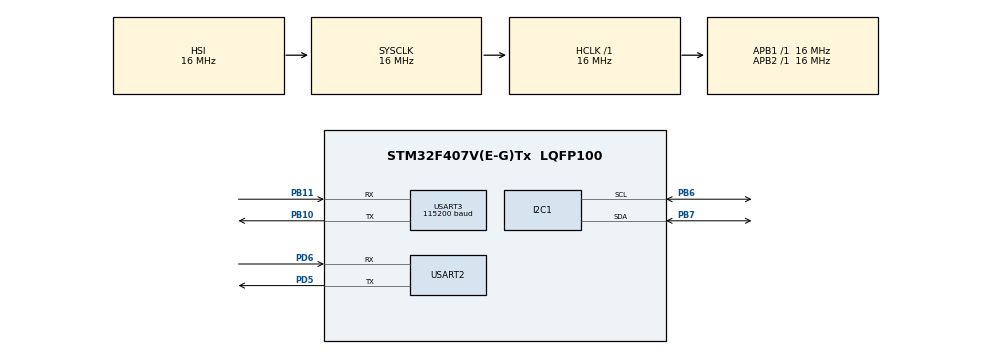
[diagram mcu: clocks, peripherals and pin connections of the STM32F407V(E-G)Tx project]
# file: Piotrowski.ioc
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Mcu.Family=STM32F4
Mcu.Name=STM32F407V(E-G)Tx
Mcu.Package=LQFP100
NVIC.PriorityGroup=NVIC_PRIORITYGROUP_4
PA13.Mode=Serial_Wire
PA13.Signal=SYS_JTMS-SWDIO
PA14.Mode=Serial_Wire
PA14.Signal=SYS_JTCK-SWCLK
PB10.Mode=Asynchronous
PB10.Signal=USART3_TX
PB11.Mode=Asynchronous
PB11.Signal=USART3_RX
PB6.Mode=I2C
PB6.Signal=I2C1_SCL
PB7.Mode=I2C
PB7.Signal=I2C1_SDA
PD5.Mode=Asynchronous
PD5.Signal=USART2_TX
PD6.Mode=Asynchronous
PD6.Signal=USART2_RX
PH0-OSC_IN.Mode=HSE-External-Oscillator
PH0-OSC_IN.Signal=RCC_OSC_IN
PH1-OSC_OUT.Mode=HSE-External-Oscillator
PH1-OSC_OUT.Signal=RCC_OSC_OUT
ProjectManager.HeapSize=0x200
ProjectManager.StackSize=0x400
ProjectManager.TargetToolchain=STM32CubeIDE
RCC.AHBFreq_Value=16000000
RCC.APB1Freq_Value=16000000
RCC.APB2Freq_Value=16000000
RCC.CortexFreq_Value=16000000
RCC.HSE_VALUE=25000000
RCC.HSI_VALUE=16000000
RCC.LSE_VALUE=32768
RCC.SYSCLKFreq_VALUE=16000000
RCC.VCOOutputFreq_Value=192000000
USART2.VirtualMode=VM_ASYNC
USART3.BaudRate=115200
USART3.VirtualMode=VM_ASYNC
board=custom

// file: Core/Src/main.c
/* USER CODE BEGIN Header */
/**
  ******************************************************************************
  * @file           : main.c
  * @brief          : Main program body
  ******************************************************************************
  * @attention
  *
  * <h2><center>&copy; Copyright (c) 2020 STMicroelectronics.
  * All rights reserved.</center></h2>
  *
  * This software component is licensed by ST under BSD 3-Clause license,
  * the "License"; You may not use this file except in compliance with the
  * License. You may obtain a copy of the License at:
  *                        opensource.org/licenses/BSD-3-Clause
  *
  ******************************************************************************
  */
/* USER CODE END Header */
#include "main.h"

/* USER CODE BEGIN Includes */
#include <string.h>
#include <stdio.h>
#include <inttypes.h>

/* USER CODE END Includes */

/* USER CODE BEGIN PTD */
#define BUFFER_LENGTH 4
/* USER CODE END PTD */

/* USER CODE BEGIN PD */
uint8_t MAX30105_ADDRESS      =    0x57; //7-bit I2C Address

uint16_t MAX30105_AAAAAAAAAA	= 	0xFF;
uint16_t MAX30105_FIFOCONFIG 	=	0x08;
uint16_t MAX30105_MODECONFIG 	=	0x09;
uint16_t MAX30105_PARTICLECONFIG	 =	0x0A;
uint16_t MAX30105_LED1_PULSEAMP 	=	0x0C;
uint16_t MAX30105_LED2_PULSEAMP 	=	0x0D;
uint16_t MAX30105_LED3_PULSEAMP 	=	0x0E;
uint16_t MAX30105_LED_PROX_AMP 	=	0x10;
uint16_t MAX30105_MULTILEDCONFIG1 =	0x11;
uint16_t MAX30105_MULTILEDCONFIG2 =	0x12;
uint16_t MAX30105_ROLLOVER_ENABLE =	0x10;
uint16_t MAX30105_MODE_MULTILED = 	0x07;
uint16_t MAX30105_ADCRANGE_4096 = 	0x20;
uint16_t MAX30105_SAMPLERATE_100 = 	0x04;
uint16_t MAX30105_SAMPLERATE_50 = 	0x00;
uint16_t MAX30105_PULSEWIDTH_118 = 	0x01;
uint16_t MAX30105_LED_AMPLITUDE = 0x1F;
uint16_t MAX30105_INT_A_FULL_DISABLE = 0x00;
uint16_t MAX30105_SAMPLEAVG_16 = 	0x80;
uint8_t MAX30105_RESET = 			0x40;
uint8_t SLOT_RED_LED = 			0x01;
uint8_t SLOT_IR_LED = 				0x02;
uint8_t SLOT_GREEN_LED = 			0x03;
uint8_t MAX30105_ROLLOVER_MASK = 	0xEF;
uint8_t MAX30105_A_FULL_MASK = 	0xF0;
uint8_t MAX30105_RESET_MASK = 		0xBF;
uint8_t MAX30105_MODE_MASK = 		0xF8;
uint8_t MAX30105_ADCRANGE_MASK = 	0x9F;
uint8_t MAX30105_SAMPLERATE_MASK = 0xE3;
uint8_t MAX30105_PULSEWIDTH_MASK = 0xFC;
uint16_t MAX30105_SAMPLEAVG_MASK =	~0b11100000;
uint16_t MAX30105_INT_A_FULL_MASK =	~0b10000000;
uint8_t MAX30105_INT_DATA_RDY_MASK = ~0b01000000;
uint8_t MAX30105_FIFOWRITEPTR = 	0x04;
uint8_t MAX30105_FIFOOVERFLOW = 	0x05;
uint8_t MAX30105_FIFOREADPTR = 	0x06;
uint8_t MAX30105_FIFODATA =		0x07;

uint8_t MAX30105_SLOT1_MASK = 		0xF8;
uint8_t MAX30105_SLOT2_MASK = 		0x8F;
uint8_t MAX30105_SLOT3_MASK = 		0xF8;
uint8_t MAX30105_SLOT4_MASK = 		0x8F;

/* USER CODE END PD */

I2C_HandleTypeDef hi2c1;

UART_HandleTypeDef huart2;
UART_HandleTypeDef huart3;

/* USER CODE BEGIN PV */
uint8_t buffer_rx[512] = {0};
/* USER CODE END PV */

void SystemClock_Config(void);
static void MX_GPIO_Init(void);
static void MX_I2C1_Init(void);
static void MX_USART3_UART_Init(void);
static void MX_USART2_UART_Init(void);
/* USER CODE BEGIN PFP */
void setup();
void read();
void clearFIFO(void);
void bitMask(uint8_t reg, uint8_t mask, uint8_t thing);
/* USER CODE END PFP */

int main(void)
{

  /* MCU Configuration--------------------------------------------------------*/

  /* Reset of all peripherals, Initializes the Flash interface and the Systick. */
  HAL_Init();

  /* Configure the system clock */
  SystemClock_Config();

  /* Initialize all configured peripherals */
  MX_GPIO_Init();
  MX_I2C1_Init();
  MX_USART3_UART_Init();
  MX_USART2_UART_Init();

  /* Infinite loop */
  /* USER CODE BEGIN WHILE */

  setup();
  while (1)
  {
	  read();
  }
    /* USER CODE END WHILE */

}

void SystemClock_Config(void)
{
  RCC_OscInitTypeDef RCC_OscInitStruct = {0};
  RCC_ClkInitTypeDef RCC_ClkInitStruct = {0};

  /** Configure the main internal regulator output voltage
  */
  __HAL_RCC_PWR_CLK_ENABLE();
  __HAL_PWR_VOLTAGESCALING_CONFIG(PWR_REGULATOR_VOLTAGE_SCALE1);
  /** Initializes the RCC Oscillators according to the specified parameters
  * in the RCC_OscInitTypeDef structure.
  */
  RCC_OscInitStruct.OscillatorType = RCC_OSCILLATORTYPE_HSI;
  RCC_OscInitStruct.HSIState = RCC_HSI_ON;
  RCC_OscInitStruct.HSICalibrationValue = RCC_HSICALIBRATION_DEFAULT;
  RCC_OscInitStruct.PLL.PLLState = RCC_PLL_NONE;
  if (HAL_RCC_OscConfig(&RCC_OscInitStruct) != HAL_OK)
  {
    Error_Handler();
  }
  /** Initializes the CPU, AHB and APB buses clocks
  */
  RCC_ClkInitStruct.ClockType = RCC_CLOCKTYPE_HCLK|RCC_CLOCKTYPE_SYSCLK
                              |RCC_CLOCKTYPE_PCLK1|RCC_CLOCKTYPE_PCLK2;
  RCC_ClkInitStruct.SYSCLKSource = RCC_SYSCLKSOURCE_HSI;
  RCC_ClkInitStruct.AHBCLKDivider = RCC_SYSCLK_DIV1;
  RCC_ClkInitStruct.APB1CLKDivider = RCC_HCLK_DIV1;
  RCC_ClkInitStruct.APB2CLKDivider = RCC_HCLK_DIV1;

  if (HAL_RCC_ClockConfig(&RCC_ClkInitStruct, FLASH_LATENCY_0) != HAL_OK)
  {
    Error_Handler();
  }
}

static void MX_I2C1_Init(void)
{

  hi2c1.Instance = I2C1;
  hi2c1.Init.ClockSpeed = 100000;
  hi2c1.Init.DutyCycle = I2C_DUTYCYCLE_2;
  hi2c1.Init.OwnAddress1 = 0;
  hi2c1.Init.AddressingMode = I2C_ADDRESSINGMODE_7BIT;
  hi2c1.Init.DualAddressMode = I2C_DUALADDRESS_DISABLE;
  hi2c1.Init.OwnAddress2 = 0;
  hi2c1.Init.GeneralCallMode = I2C_GENERALCALL_DISABLE;
  hi2c1.Init.NoStretchMode = I2C_NOSTRETCH_DISABLE;
  if (HAL_I2C_Init(&hi2c1) != HAL_OK)
  {
    Error_Handler();
  }

}

static void MX_USART2_UART_Init(void)
{

  huart2.Instance = USART2;
  huart2.Init.BaudRate = 115200;
  huart2.Init.WordLength = UART_WORDLENGTH_8B;
  huart2.Init.StopBits = UART_STOPBITS_1;
  huart2.Init.Parity = UART_PARITY_NONE;
  huart2.Init.Mode = UART_MODE_TX_RX;
  huart2.Init.HwFlowCtl = UART_HWCONTROL_NONE;
  huart2.Init.OverSampling = UART_OVERSAMPLING_16;
  if (HAL_UART_Init(&huart2) != HAL_OK)
  {
    Error_Handler();
  }

}

static void MX_USART3_UART_Init(void)
{

  huart3.Instance = USART3;
  huart3.Init.BaudRate = 115200;
  huart3.Init.WordLength = UART_WORDLENGTH_8B;
  huart3.Init.StopBits = UART_STOPBITS_1;
  huart3.Init.Parity = UART_PARITY_NONE;
  huart3.Init.Mode = UART_MODE_TX_RX;
  huart3.Init.HwFlowCtl = UART_HWCONTROL_NONE;
  huart3.Init.OverSampling = UART_OVERSAMPLING_16;
  if (HAL_UART_Init(&huart3) != HAL_OK)
  {
    Error_Handler();
  }

}

static void MX_GPIO_Init(void)
{

  /* GPIO Ports Clock Enable */
  __HAL_RCC_GPIOH_CLK_ENABLE();
  __HAL_RCC_GPIOB_CLK_ENABLE();
  __HAL_RCC_GPIOA_CLK_ENABLE();
  __HAL_RCC_GPIOD_CLK_ENABLE();

}

/* USER CODE BEGIN 4 */
void setup()
{
	bitMask(MAX30105_MODECONFIG, MAX30105_RESET_MASK, MAX30105_RESET);
	bitMask(MAX30105_FIFOCONFIG, MAX30105_SAMPLEAVG_MASK, MAX30105_SAMPLEAVG_16);
	bitMask(MAX30105_FIFOCONFIG, MAX30105_ROLLOVER_MASK, MAX30105_ROLLOVER_ENABLE);
	bitMask(MAX30105_MODECONFIG, MAX30105_MODE_MASK, MAX30105_MODE_MULTILED);
	bitMask(MAX30105_PARTICLECONFIG, MAX30105_ADCRANGE_MASK, MAX30105_ADCRANGE_4096);
	bitMask(MAX30105_PARTICLECONFIG, MAX30105_SAMPLERATE_MASK, MAX30105_SAMPLERATE_50);
	bitMask(MAX30105_PARTICLECONFIG, MAX30105_PULSEWIDTH_MASK, MAX30105_PULSEWIDTH_118);
	HAL_Delay(100);
	HAL_I2C_Mem_Write(&hi2c1, (MAX30105_ADDRESS << 1), (MAX30105_LED1_PULSEAMP),
			1, &MAX30105_LED_AMPLITUDE, sizeof(MAX30105_LED_AMPLITUDE),
			HAL_MAX_DELAY);
	HAL_Delay(100);
	HAL_I2C_Mem_Write(&hi2c1, (MAX30105_ADDRESS << 1), (MAX30105_LED2_PULSEAMP),
			1, &MAX30105_LED_AMPLITUDE, sizeof(MAX30105_LED_AMPLITUDE),
			HAL_MAX_DELAY);
	HAL_Delay(100);
	HAL_I2C_Mem_Write(&hi2c1, (MAX30105_ADDRESS << 1), (MAX30105_LED3_PULSEAMP),
			1, &MAX30105_LED_AMPLITUDE, sizeof(MAX30105_LED_AMPLITUDE),
			HAL_MAX_DELAY);
	HAL_Delay(100);
	HAL_I2C_Mem_Write(&hi2c1, (MAX30105_ADDRESS << 1), (MAX30105_LED_PROX_AMP),
			1, &MAX30105_LED_AMPLITUDE, sizeof(MAX30105_LED_AMPLITUDE),
			HAL_MAX_DELAY);
	HAL_Delay(100);
	bitMask(MAX30105_MULTILEDCONFIG1, MAX30105_SLOT1_MASK,SLOT_RED_LED);
	bitMask(MAX30105_MULTILEDCONFIG1, MAX30105_SLOT2_MASK,(SLOT_IR_LED<<4));
	bitMask(MAX30105_MULTILEDCONFIG2, MAX30105_SLOT3_MASK,SLOT_GREEN_LED);

	clearFIFO();
}

void read(){
		 static volatile uint8_t readPointer=0;
		 HAL_I2C_Mem_Read(&hi2c1,(MAX30105_ADDRESS << 1), MAX30105_FIFOREADPTR, 1, &readPointer, sizeof(uint8_t), HAL_MAX_DELAY);

		 static volatile uint8_t writePointer=0;
		 HAL_I2C_Mem_Read(&hi2c1,(MAX30105_ADDRESS << 1), MAX30105_FIFOWRITEPTR, 1, &writePointer, sizeof(uint8_t), HAL_MAX_DELAY);

		 uint8_t numberOfSamples = 0;
		 if (readPointer != writePointer) {
			 if (writePointer > readPointer){
				 numberOfSamples = writePointer - readPointer;
			 }
			 else{
				 numberOfSamples = writePointer - readPointer + 32;
			 }

			 uint16_t bytesLeftToRead = numberOfSamples * 3 * 3;

			 if (bytesLeftToRead > 0){
				 HAL_I2C_Mem_Read(&hi2c1,(MAX30105_ADDRESS << 1), MAX30105_FIFODATA, 1, buffer_rx, bytesLeftToRead, HAL_MAX_DELAY);

				 static char s[20];
					 static uint32_t t=0;
					 for (int i=0; i < numberOfSamples; ++i) {
						 for (int j=0; j<3; ++j) {
							 t=0;
							 for (int k=0; k<3; ++k) {
								 t >>= 8;
								 t |= (buffer_rx[i*9+j*3+k]<<16);
							 }
							 if (j==0)
								 sprintf(s, "r: %" PRIu32 "\n", t);
							 if (j==1)
								 sprintf(s, "i: %" PRIu32 "\n", t);
							 if (j==2)
								 sprintf(s, "g: %" PRIu32 "\n", t);
							HAL_UART_Transmit(&huart3, (uint8_t*)s, strlen(s), 1000);
							HAL_UART_Transmit(&huart2, (uint8_t*)s, strlen(s), 1000);
						 }
					 }
			 }

		 }
}
void clearFIFO(void) {
	uint8_t ziobro = 0;
	HAL_I2C_Mem_Write(&hi2c1, (MAX30105_ADDRESS << 1), (MAX30105_FIFOWRITEPTR),1, &ziobro, sizeof(ziobro), HAL_MAX_DELAY);
	HAL_Delay(100);
	HAL_I2C_Mem_Write(&hi2c1, (MAX30105_ADDRESS << 1), (MAX30105_FIFOOVERFLOW),1, &ziobro, sizeof(ziobro), HAL_MAX_DELAY);
	HAL_Delay(100);
	HAL_I2C_Mem_Write(&hi2c1, (MAX30105_ADDRESS << 1), (MAX30105_FIFOREADPTR),1, &ziobro, sizeof(ziobro), HAL_MAX_DELAY);

}
void bitMask(uint8_t reg, uint8_t mask, uint8_t thing)
{
	//bitMask(0x08, 0xEF, 0x10);
	HAL_Delay(100);
	volatile uint8_t originalContent;

  // Grab current register context
	 //HAL_I2C_IsDeviceReady(&hi2c1, reg, 1, HAL_MAX_DELAY);
	HAL_I2C_Mem_Read(&hi2c1,(MAX30105_ADDRESS << 1) ,reg , 1, &originalContent, sizeof(uint8_t), HAL_MAX_DELAY);

	// Zero-out the portions of the register we're interested in
	 originalContent = originalContent & mask;
  // Change contents
	 uint8_t content = 0;
	 content = originalContent | thing;
	 HAL_I2C_Mem_Write(&hi2c1, (MAX30105_ADDRESS << 1),
	 			(reg), 1, &content , sizeof(content),
	 			HAL_MAX_DELAY);
}

/* USER CODE END 4 */

void Error_Handler(void)
{
  __disable_irq();
  while (1)
  {
  }
}

/************************ (C) COPYRIGHT STMicroelectronics *****END OF FILE****/
